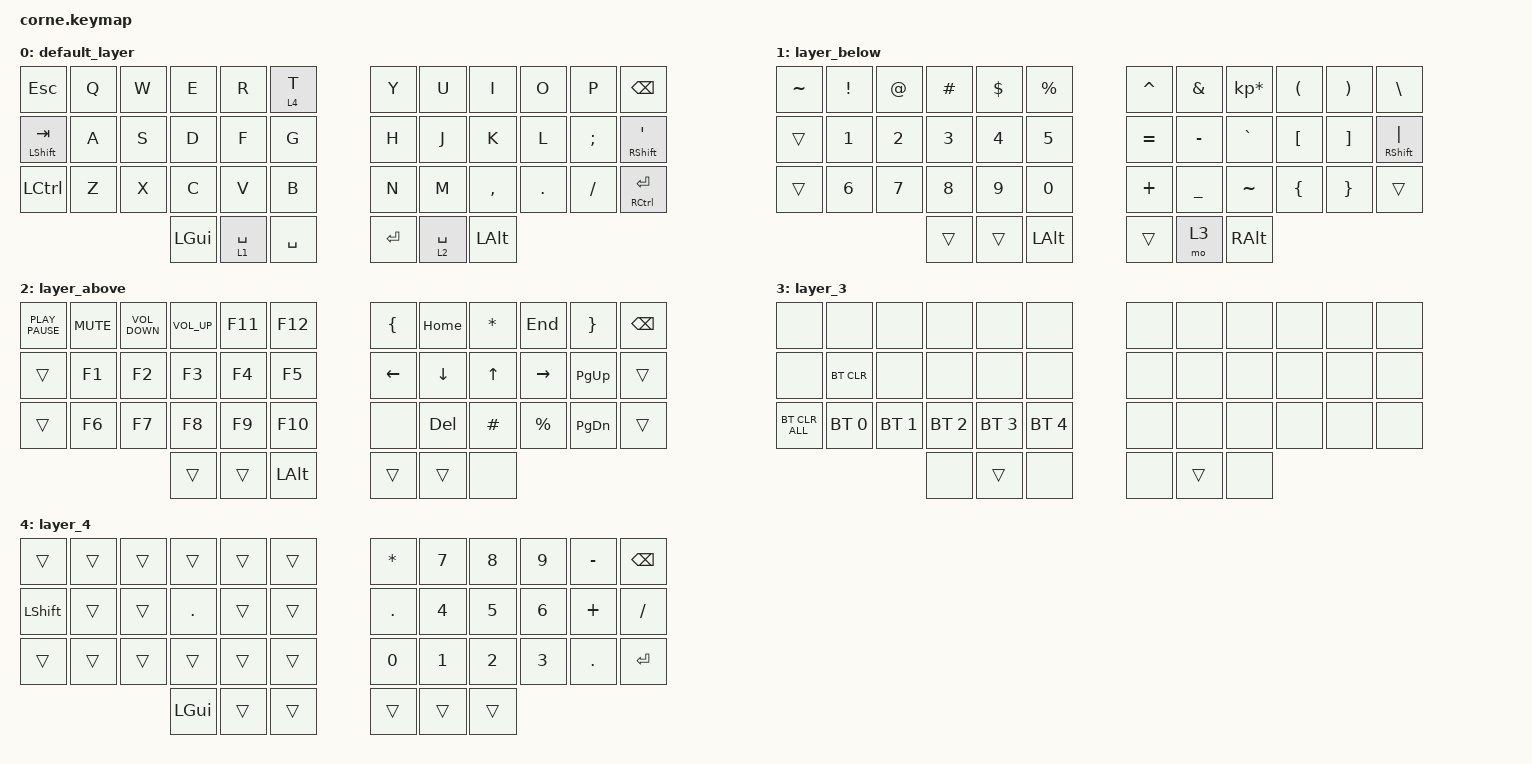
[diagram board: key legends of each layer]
/*
 * Copyright (c) 2020 The ZMK Contributors
 *
 * SPDX-License-Identifier: MIT
 */

#include <behaviors.dtsi>
#include <dt-bindings/zmk/bt.h>
#include <dt-bindings/zmk/keys.h>

/ {
    behaviors {
        tp: tap_preferred {
            compatible = "zmk,behavior-hold-tap";
            label = "TAP_PREFERRED";
            #binding-cells = <2>;
            tapping-term-ms = <150>;
            quick-tap-ms = <0>;
            flavor = "tap-preferred";
            bindings = <&kp>, <&kp>;
        };
    };

    keymap {
        compatible = "zmk,keymap";

        default_layer {
            bindings = <
&kp ESCAPE          &kp Q  &kp W  &kp E         &kp R        &lt 4 T      &kp Y      &kp U        &kp I      &kp O    &kp P     &kp BACKSPACE
&mt LEFT_SHIFT TAB  &kp A  &kp S  &kp D         &kp F        &kp G        &kp H      &kp J        &kp K      &kp L    &kp SEMI  &mt RIGHT_SHIFT APOS
&kp LCTRL           &kp Z  &kp X  &kp C         &kp V        &kp B        &kp N      &kp M        &kp COMMA  &kp DOT  &kp FSLH  &mt RIGHT_CONTROL ENTER
                                  &kp LEFT_GUI  &lt 1 SPACE  &kp SPACE    &kp ENTER  &lt 2 SPACE  &kp LALT
            >;
        };

        layer_below {
            bindings = <
&kp TILDE  &kp EXCL  &kp AT  &kp HASH  &kp DLLR  &kp PRCNT       &kp CARET  &kp AMPS        &kp KP_MULTIPLY  &kp LPAR  &kp RPAR  &kp BSLH
&trans     &kp N1    &kp N2  &kp N3    &kp N4    &kp N5          &kp EQUAL  &kp MINUS       &kp GRAVE        &kp LBKT  &kp RBKT  &mt RIGHT_SHIFT PIPE
&trans     &kp N6    &kp N7  &kp N8    &kp N9    &kp N0          &kp PLUS   &kp UNDERSCORE  &kp TILDE        &kp LBRC  &kp RBRC  &trans
                             &trans    &trans    &kp LEFT_ALT    &trans     &mo 3           &kp RIGHT_ALT
            >;
        };

        layer_above {
            bindings = <
&kp K_PLAY_PAUSE  &kp C_MUTE  &kp C_VOLUME_DOWN  &kp C_VOLUME_UP  &kp F11  &kp F12         &kp LEFT_BRACE  &kp HOME    &kp ASTERISK  &kp END      &kp RIGHT_BRACE  &kp BSPC
&trans            &kp F1      &kp F2             &kp F3           &kp F4   &kp F5          &kp LEFT        &kp DOWN    &kp UP        &kp RIGHT    &kp PG_UP        &trans
&trans            &kp F6      &kp F7             &kp F8           &kp F9   &kp F10         &none           &kp DELETE  &kp HASH      &kp PERCENT  &kp PG_DN        &trans
                                                 &trans           &trans   &kp LEFT_ALT    &trans          &trans      &none
            >;
        };

        layer_3 {
            bindings = <
&none           &none         &none         &none         &none         &none           &none  &none   &none  &none  &none  &none
&none           &bt BT_CLR    &none         &none         &none         &none           &none  &none   &none  &none  &none  &none
&bt BT_CLR_ALL  &bt BT_SEL 0  &bt BT_SEL 1  &bt BT_SEL 2  &bt BT_SEL 3  &bt BT_SEL 4    &none  &none   &none  &none  &none  &none
                                            &none         &trans        &none           &none  &trans  &none
            >;
        };

        layer_4 {
            bindings = <
&trans     &trans  &trans  &trans      &trans  &trans    &kp STAR  &kp N7  &kp N8  &kp N9  &kp MINUS  &kp BSPC
&kp LSHFT  &trans  &trans  &kp PERIOD  &trans  &trans    &kp DOT   &kp N4  &kp N5  &kp N6  &kp PLUS   &kp FSLH
&trans     &trans  &trans  &trans      &trans  &trans    &kp N0    &kp N1  &kp N2  &kp N3  &kp DOT    &kp RET
                           &kp LGUI    &trans  &trans    &trans    &trans  &trans
            >;
        };
    };
};
